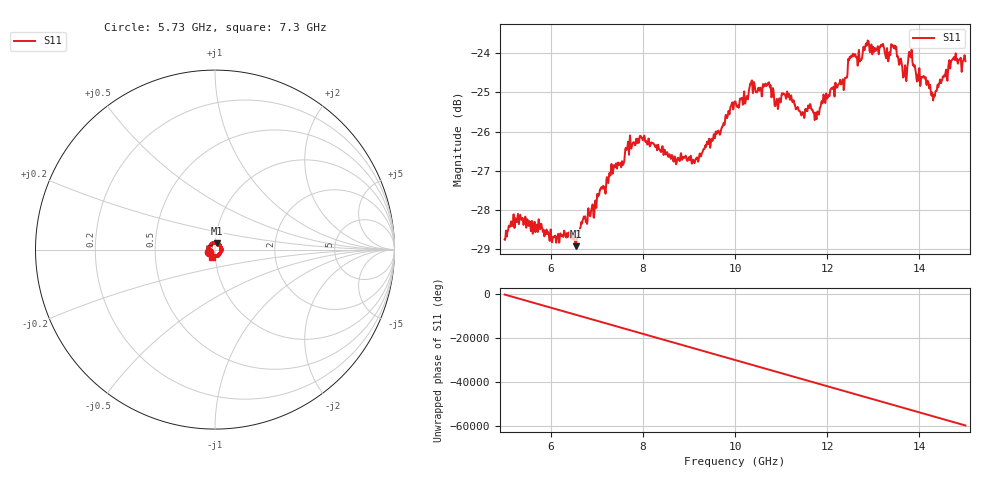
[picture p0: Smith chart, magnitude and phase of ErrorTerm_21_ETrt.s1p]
!  1-Port S-parameters saved by WinCal
! VAR NAME=2-Port SOLT labuser 7
! VAR Error Term Name=ETrt phys rcv port 2 phys src port 1
# Hz S RI R 50
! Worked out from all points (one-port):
!   1001 points, 5 GHz to 15 GHz, reference 50 ohm
!   lowest |S11| = -28.9 dB at 6.54 GHz (marker M1), VSWR 1.07, Z = 50.8 + j3.52 ohm
!   |S11| at or under -10 dB: start of sweep to end of sweep
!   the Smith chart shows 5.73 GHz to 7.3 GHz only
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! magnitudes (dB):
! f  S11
! 5 GHz  -28.8
! 5.33 GHz  -28.2
! 6.25 GHz  -28.6
! 6.54 GHz  -28.9
! 7.5 GHz  -26.8
! 7.68 GHz  -26.3
! 7.98 GHz  -26.2
! 8.75 GHz  -26.7
! 9.16 GHz  -26.7
! 10 GHz  -25.2
! 10.37 GHz  -24.7
! 10.72 GHz  -24.8
! 10.9 GHz  -25.2
! 11.25 GHz  -25.2
! 11.78 GHz  -25.5
! 12.39 GHz  -24.6
! 12.5 GHz  -24.1
! 12.71 GHz  -24.2
! 12.86 GHz  -23.8
! 13.3 GHz  -23.9
! 13.44 GHz  -23.8
! 13.68 GHz  -24.5
! 13.75 GHz  -24.3
! 13.82 GHz  -24.1
! 13.98 GHz  -24.7
! 14.3 GHz  -25.2
! 14.74 GHz  -24.1
! 15 GHz  -24.2
